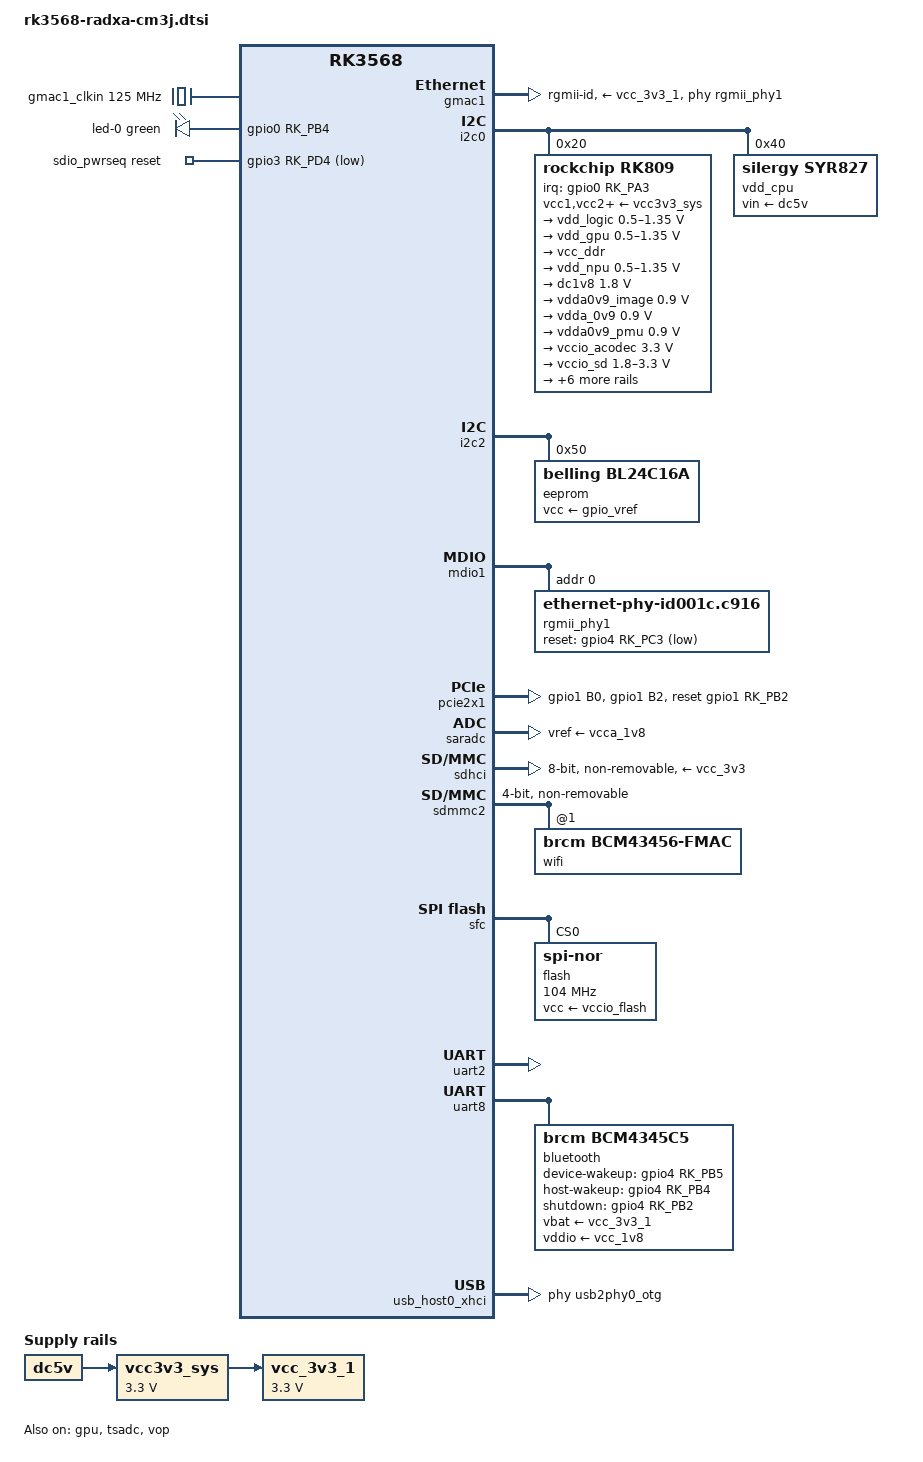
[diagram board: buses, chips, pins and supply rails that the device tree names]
// SPDX-License-Identifier: (GPL-2.0+ OR MIT)
/*
 * Copyright (c) 2025 Radxa Computer (Shenzhen) Co., Ltd.
 */

#include <dt-bindings/leds/common.h>
#include <dt-bindings/gpio/gpio.h>
#include <dt-bindings/pinctrl/rockchip.h>
#include <dt-bindings/soc/rockchip,vop2.h>
#include "rk3568.dtsi"

/ {
	aliases {
		mmc0 = &sdhci;
		mmc2 = &sdmmc2;
	};

	gmac1_clkin: clock-125m {
		compatible = "fixed-clock";
		clock-frequency = <125000000>;
		clock-output-names = "gmac1_clkin";
		#clock-cells = <0>;
	};

	leds-0 {
		compatible = "gpio-leds";

		led-0 {
			color = <LED_COLOR_ID_GREEN>;
			default-state = "on";
			function = LED_FUNCTION_POWER;
			gpios = <&gpio0 RK_PB4 GPIO_ACTIVE_HIGH>;
			pinctrl-names = "default";
			pinctrl-0 = <&gpio0_b4_led>;
		};
	};

	vcc3v3_sys: regulator-3v3-0 {
		compatible = "regulator-fixed";
		regulator-name = "vcc3v3_sys";
		regulator-always-on;
		regulator-boot-on;
		regulator-min-microvolt = <3300000>;
		regulator-max-microvolt = <3300000>;
		vin-supply = <&dc5v>;
	};

	vcc_3v3_1: regulator-3v3-1 {
		compatible = "regulator-fixed";
		regulator-name = "vcc_3v3_1";
		regulator-always-on;
		regulator-boot-on;
		regulator-min-microvolt = <3300000>;
		regulator-max-microvolt = <3300000>;
		vin-supply = <&vcc3v3_sys>;
	};

	sdio_pwrseq: sdio-pwrseq {
		compatible = "mmc-pwrseq-simple";
		clocks = <&rk809 1>;
		clock-names = "ext_clock";
		pinctrl-names = "default";
		pinctrl-0 = <&wifi_reg_on_h_gpio3_d4>;
		reset-gpios = <&gpio3 RK_PD4 GPIO_ACTIVE_LOW>;
	};
};

&cpu0 {
	cpu-supply = <&vdd_cpu>;
};

&cpu1 {
	cpu-supply = <&vdd_cpu>;
};

&cpu2 {
	cpu-supply = <&vdd_cpu>;
};

&cpu3 {
	cpu-supply = <&vdd_cpu>;
};

&gmac1 {
	assigned-clocks = <&cru SCLK_GMAC1_RX_TX>, <&cru SCLK_GMAC1>;
	assigned-clock-parents = <&cru SCLK_GMAC1_RGMII_SPEED>, <&gmac1_clkin>;
	clock_in_out = "input";
	phy-handle = <&rgmii_phy1>;
	phy-mode = "rgmii-id";
	phy-supply = <&vcc_3v3_1>;
	pinctrl-names = "default";
	pinctrl-0 = <&gmac1m1_miim
		     &gmac1m1_clkinout
		     &gmac1m1_rx_bus2
		     &gmac1m1_tx_bus2
		     &gmac1m1_rgmii_clk
		     &gmac1m1_rgmii_bus>;
};

&gpu {
	mali-supply = <&vdd_gpu>;
	status = "okay";
};

&hdmi {
	avdd-0v9-supply = <&vdda0v9_image>;
	avdd-1v8-supply = <&vcca1v8_image>;
};

&hdmi_in {
	hdmi_in_vp0: endpoint {
		remote-endpoint = <&vp0_out_hdmi>;
	};
};

&hdmi_out {
	hdmi_out_con: endpoint {
		remote-endpoint = <&hdmi_con_in>;
	};
};

&i2c0 {
	status = "okay";

	rk809: pmic@20 {
		compatible = "rockchip,rk809";
		reg = <0x20>;
		#clock-cells = <1>;
		clock-output-names = "rk809-clkout1", "rk809-clkout2";
		interrupt-parent = <&gpio0>;
		interrupts = <RK_PA3 IRQ_TYPE_LEVEL_LOW>;
		pinctrl-names = "default";
		pinctrl-0 = <&pmic_int_l>;
		system-power-controller;
		vcc1-supply = <&vcc3v3_sys>;
		vcc2-supply = <&vcc3v3_sys>;
		vcc3-supply = <&vcc3v3_sys>;
		vcc4-supply = <&vcc3v3_sys>;
		vcc5-supply = <&vcc3v3_sys>;
		vcc6-supply = <&vcc3v3_sys>;
		vcc7-supply = <&vcc3v3_sys>;
		vcc8-supply = <&vcc3v3_sys>;
		vcc9-supply = <&vcc3v3_sys>;
		wakeup-source;

		regulators {
			vdd_logic: DCDC_REG1 {
				regulator-name = "vdd_logic";
				regulator-always-on;
				regulator-boot-on;
				regulator-initial-mode = <0x2>;
				regulator-min-microvolt = <500000>;
				regulator-max-microvolt = <1350000>;
				regulator-ramp-delay = <6001>;

				regulator-state-mem {
					regulator-off-in-suspend;
				};
			};

			vdd_gpu: DCDC_REG2 {
				regulator-name = "vdd_gpu";
				regulator-initial-mode = <0x2>;
				regulator-min-microvolt = <500000>;
				regulator-max-microvolt = <1350000>;
				regulator-ramp-delay = <6001>;

				regulator-state-mem {
					regulator-off-in-suspend;
				};
			};

			vcc_ddr: DCDC_REG3 {
				regulator-name = "vcc_ddr";
				regulator-always-on;
				regulator-boot-on;
				regulator-initial-mode = <0x2>;

				regulator-state-mem {
					regulator-on-in-suspend;
				};
			};

			vdd_npu: DCDC_REG4 {
				regulator-name = "vdd_npu";
				regulator-initial-mode = <0x2>;
				regulator-min-microvolt = <500000>;
				regulator-max-microvolt = <1350000>;
				regulator-ramp-delay = <6001>;

				regulator-state-mem {
					regulator-off-in-suspend;
				};
			};

			dc1v8: vccio_flash: vcc_1v8: DCDC_REG5 {
				regulator-name = "vcc_1v8";
				regulator-always-on;
				regulator-boot-on;
				regulator-min-microvolt = <1800000>;
				regulator-max-microvolt = <1800000>;

				regulator-state-mem {
					regulator-off-in-suspend;
				};
			};

			vdda0v9_image: LDO_REG1 {
				regulator-name = "vdda0v9_image";
				regulator-min-microvolt = <900000>;
				regulator-max-microvolt = <900000>;

				regulator-state-mem {
					regulator-off-in-suspend;
				};
			};

			vdda_0v9: LDO_REG2 {
				regulator-name = "vdda_0v9";
				regulator-always-on;
				regulator-boot-on;
				regulator-min-microvolt = <900000>;
				regulator-max-microvolt = <900000>;

				regulator-state-mem {
					regulator-off-in-suspend;
				};
			};

			vdda0v9_pmu: LDO_REG3 {
				regulator-name = "vdda0v9_pmu";
				regulator-always-on;
				regulator-boot-on;
				regulator-min-microvolt = <900000>;
				regulator-max-microvolt = <900000>;

				regulator-state-mem {
					regulator-on-in-suspend;
					regulator-suspend-microvolt = <900000>;
				};
			};

			vccio_acodec: LDO_REG4 {
				regulator-name = "vccio_acodec";
				regulator-min-microvolt = <3300000>;
				regulator-max-microvolt = <3300000>;

				regulator-state-mem {
					regulator-off-in-suspend;
				};
			};

			vccio_sd: LDO_REG5 {
				regulator-name = "vccio_sd";
				regulator-always-on;
				regulator-boot-on;
				regulator-min-microvolt = <1800000>;
				regulator-max-microvolt = <3300000>;

				regulator-state-mem {
					regulator-off-in-suspend;
				};
			};

			vcc3v3_pmu: LDO_REG6 {
				regulator-name = "vcc3v3_pmu";
				regulator-always-on;
				regulator-boot-on;
				regulator-min-microvolt = <3300000>;
				regulator-max-microvolt = <3300000>;

				regulator-state-mem {
					regulator-on-in-suspend;
					regulator-suspend-microvolt = <3300000>;
				};
			};

			vcca_1v8: LDO_REG7 {
				regulator-name = "vcca_1v8";
				regulator-always-on;
				regulator-boot-on;
				regulator-min-microvolt = <1800000>;
				regulator-max-microvolt = <1800000>;

				regulator-state-mem {
					regulator-off-in-suspend;
				};
			};

			vcca1v8_pmu: LDO_REG8 {
				regulator-name = "vcca1v8_pmu";
				regulator-always-on;
				regulator-boot-on;
				regulator-min-microvolt = <1800000>;
				regulator-max-microvolt = <1800000>;

				regulator-state-mem {
					regulator-on-in-suspend;
					regulator-suspend-microvolt = <1800000>;
				};
			};

			vcca1v8_image: LDO_REG9 {
				regulator-name = "vcca1v8_image";
				regulator-min-microvolt = <1800000>;
				regulator-max-microvolt = <1800000>;

				regulator-state-mem {
					regulator-off-in-suspend;
				};
			};

			dc3v3: vcc_3v3: SWITCH_REG1 {
				regulator-name = "vcc_3v3";
				regulator-always-on;
				regulator-boot-on;

				regulator-state-mem {
					regulator-off-in-suspend;
				};
			};

			vcc3v3_sd: SWITCH_REG2 {
				regulator-name = "vcc3v3_sd";
				regulator-always-on;
				regulator-boot-on;

				regulator-state-mem {
					regulator-off-in-suspend;
				};
			};
		};
	};

	vdd_cpu: regulator@40 {
		compatible = "silergy,syr827";
		reg = <0x40>;
		fcs,suspend-voltage-selector = <1>;
		regulator-name = "vdd_cpu";
		regulator-always-on;
		regulator-boot-on;
		regulator-min-microvolt = <712500>;
		regulator-max-microvolt = <1390000>;
		regulator-ramp-delay = <2300>;
		vin-supply = <&dc5v>;
	};
};

&i2c2 {
	status = "okay";

	eeprom@50 {
		compatible = "belling,bl24c16a", "atmel,24c16";
		reg = <0x50>;
		pagesize = <16>;
		read-only;
		vcc-supply = <&gpio_vref>;
	};
};

&mdio1 {
	rgmii_phy1: ethernet-phy@0 {
		compatible = "ethernet-phy-id001c.c916";
		reg = <0x0>;
		pinctrl-names = "default";
		pinctrl-0 = <&gmac1_rstn_gpio3_b0>; // GPIO4_C3
		reset-assert-us = <20000>;
		reset-deassert-us = <100000>;
		reset-gpios = <&gpio4 RK_PC3 GPIO_ACTIVE_LOW>;
	};
};

&pinctrl {
	bluetooth {
		bt_reg_on_h_gpio4_b2: bt-reg-on-h-gpio4-b2 {
			rockchip,pins = <4 RK_PB2 RK_FUNC_GPIO &pcfg_pull_none>;
		};

		bt_wake_host_h_gpio4_b4: bt-wake-host-h-gpio4-b4 {
			rockchip,pins = <4 RK_PB4 RK_FUNC_GPIO &pcfg_pull_down>;
		};

		host_wake_bt_h_gpio4_b5: host-wake-bt-h-gpio4-b5 {
			rockchip,pins = <4 RK_PB5 RK_FUNC_GPIO &pcfg_pull_none>;
		};
	};

	ethernet {
		gmac1_rstn_gpio3_b0: gmac1-rstn-gpio3-b0 {
			rockchip,pins = <4 RK_PC3 RK_FUNC_GPIO &pcfg_pull_none>;
		};
	};

	leds {
		gpio0_b4_led: gpio0-b4-led {
			rockchip,pins = <0 RK_PB4 RK_FUNC_GPIO &pcfg_pull_none>;
		};
	};

	pcie {
		pcie20_clkreqnm2: pcie20_clkreqnm2 {
			rockchip,pins = <1 RK_PB0 4 &pcfg_pull_none>;
		};

		pcie_nrst: pcie-nrst {
			rockchip,pins = <1 RK_PB2 RK_FUNC_GPIO &pcfg_pull_none>;
		};
	};

	pmic {
		pmic_int_l: pmic-int-l {
			rockchip,pins = <0 RK_PA3 RK_FUNC_GPIO &pcfg_pull_up>;
		};
	};

	wifi {
		wifi_reg_on_h_gpio3_d4: wifi-reg-on-h-gpio3-d4 {
			rockchip,pins = <3 RK_PD4 RK_FUNC_GPIO &pcfg_pull_none>;
		};
	};
};

&pcie2x1 {
	pinctrl-names = "default";
	pinctrl-0 = <&pcie20_clkreqnm2 &pcie_nrst>;
	reset-gpios = <&gpio1 RK_PB2 GPIO_ACTIVE_HIGH>;
	supports-clkreq;
};

&pmu_io_domains {
	pmuio1-supply = <&vcc3v3_pmu>;
	pmuio2-supply = <&vcc_3v3>;
	vccio1-supply = <&vccio_acodec>;
	vccio2-supply = <&vccio_flash>;
	vccio3-supply = <&vccio_sd>;
	vccio4-supply = <&vcc_1v8>;
	vccio5-supply = <&vcc_3v3>;
	vccio6-supply = <&vcc_1v8>;
	vccio7-supply = <&vcc_3v3>;
	status = "okay";
};

&saradc {
	vref-supply = <&vcca_1v8>;
	status = "okay";
};

&sdhci {
	bus-width = <8>;
	cap-mmc-highspeed;
	mmc-hs200-1_8v;
	max-frequency = <200000000>;
	no-sd;
	no-sdio;
	non-removable;
	pinctrl-names = "default";
	pinctrl-0 = <&emmc_bus8 &emmc_clk &emmc_cmd &emmc_datastrobe>;
	vmmc-supply = <&vcc_3v3>;
	vqmmc-supply = <&vccio_flash>;
	status = "okay";
};

&sdmmc2 {
	#address-cells = <1>;
	bus-width = <4>;
	cap-sd-highspeed;
	cap-sdio-irq;
	disable-wp;
	keep-power-in-suspend;
	max-frequency = <200000000>;
	mmc-pwrseq = <&sdio_pwrseq>;
	no-mmc;
	no-sd;
	non-removable;
	pinctrl-names = "default";
	pinctrl-0 = <&sdmmc2m0_bus4 &sdmmc2m0_clk &sdmmc2m0_cmd>;
	sd-uhs-sdr104;
	#size-cells = <0>;
	status = "okay";

	wifi@1 {
		compatible = "brcm,bcm43456-fmac", "brcm,bcm4329-fmac";
		reg = <1>;
	};
};

&sfc {
	#address-cells = <1>;
	#size-cells = <0>;
	status = "okay";

	flash@0 {
		compatible = "jedec,spi-nor";
		reg = <0>;
		spi-max-frequency = <104000000>;
		spi-rx-bus-width = <4>;
		spi-tx-bus-width = <1>;
		vcc-supply = <&vccio_flash>;
	};
};

&tsadc {
	rockchip,hw-tshut-mode = <1>;
	rockchip,hw-tshut-polarity = <0>;
	status = "okay";
};

&uart2 {
	status = "okay";
};

&uart8 {
	dma-names = "tx", "rx";
	pinctrl-names = "default";
	pinctrl-0 = <&uart8m0_xfer &uart8m0_ctsn &uart8m0_rtsn>;
	uart-has-rtscts;
	status = "okay";

	bluetooth {
		compatible = "brcm,bcm4345c5";
		clocks = <&rk809 1>;
		clock-names = "lpo";
		device-wakeup-gpios = <&gpio4 RK_PB5 GPIO_ACTIVE_HIGH>;
		host-wakeup-gpios = <&gpio4 RK_PB4 GPIO_ACTIVE_HIGH>;
		max-speed = <1500000>;
		pinctrl-names = "default";
		pinctrl-0 = <&bt_reg_on_h_gpio4_b2
			     &bt_wake_host_h_gpio4_b4
			     &host_wake_bt_h_gpio4_b5>;
		shutdown-gpios = <&gpio4 RK_PB2 GPIO_ACTIVE_HIGH>;
		vbat-supply = <&vcc_3v3_1>;
		vddio-supply = <&vcc_1v8>;
	};
};

&usb_host0_xhci {
	extcon = <&usb2phy0>;
	maximum-speed = "high-speed";
	phys = <&usb2phy0_otg>;
	phy-names = "usb2-phy";
};

&vop {
	assigned-clocks = <&cru DCLK_VOP0>, <&cru DCLK_VOP1>;
	assigned-clock-parents = <&pmucru PLL_HPLL>, <&cru PLL_VPLL>;
	status = "okay";
};

&vop_mmu {
	status = "okay";
};

&vp0 {
	vp0_out_hdmi: endpoint@ROCKCHIP_VOP2_EP_HDMI0 {
		reg = <ROCKCHIP_VOP2_EP_HDMI0>;
		remote-endpoint = <&hdmi_in_vp0>;
	};
};
